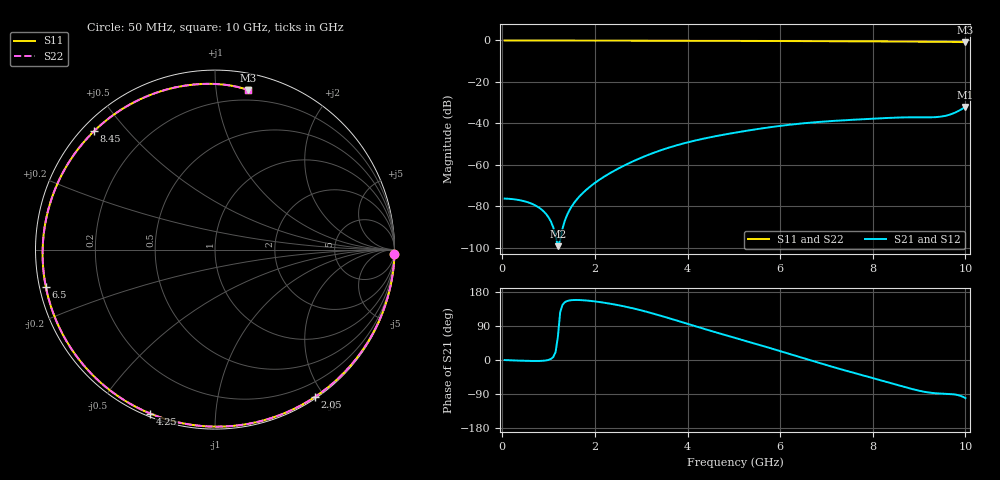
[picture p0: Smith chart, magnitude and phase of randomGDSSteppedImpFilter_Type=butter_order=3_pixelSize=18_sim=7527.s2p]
! freq	dB(S11)	phase(S11)	dB(S12)	phase(S12)
!  dB(S21)	phase(S21)	dB(S22)	phase(S22)
!S-par simulation data
#  GHz  S  DB  R 50
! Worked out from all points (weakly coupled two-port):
!   200 points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, 50 MHz to 10 GHz, reference 50 ohm
!   highest |S21| = -32.10 dB at 10 GHz (marker M1); lowest = -99.4 dB at 1.2 GHz (marker M2)
!   lowest |S11| = -0.8 dB at 10 GHz (marker M3), VSWR 20.62, Z = 6.06 + j61 ohm
!   |S11| at or under -10 dB: nowhere
!   |S22| runs from -0.8 to 0.0 dB; largest |S21 - S12| = 0
!   S11 on the Smith chart (normalised r, x): 50 MHz: 0, -82; 2.05 GHz: 0.02, -1.88; 4.25 GHz: 0.01, -0.68; 6.5 GHz: 0.02, -0.11; 8.45 GHz: 0.03, +0.41; 10 GHz: 0.12, +1.22
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0.05  -0.00 -1.4  -76.38 -0.1  -76.38 -0.1  -0.00 -1.4
0.45  -0.01 -12.6  -77.50 -2.0  -77.50 -2.0  -0.01 -12.6
0.75  -0.02 -20.9  -80.14 -2.7  -80.14 -2.7  -0.02 -20.9
1.2  -0.04 -33.2  -99.36 60.7  -99.36 60.7  -0.04 -33.2
1.5  -0.05 -41.3  -80.12 158.0  -80.12 158.0  -0.05 -41.3
1.75  -0.06 -48.0  -73.42 157.7  -73.42 157.7  -0.06 -48.0
2.05  -0.07 -55.9  -68.00 153.8  -68.00 153.8  -0.07 -55.9
2.65  -0.09 -71.6  -60.21 141.0  -60.21 141.0  -0.09 -71.6
3.4  -0.12 -90.6  -53.22 117.6  -53.22 117.6  -0.12 -90.6
4.25  -0.16 -111.6  -47.90 86.1  -47.90 86.1  -0.16 -111.6
5.05  -0.20 -131.2  -44.44 57.5  -44.44 57.5  -0.20 -131.2
5.8  -0.25 -149.7  -41.85 30.8  -41.85 30.8  -0.25 -149.7
6.5  -0.31 -167.6  -40.01 5.0  -40.01 5.0  -0.31 -167.6
6.7  -0.33 -172.9  -39.61 -2.4  -39.61 -2.4  -0.33 -172.9
7.55  -0.41 163.4  -38.33 -32.6  -38.33 -32.6  -0.41 163.4
7.95  -0.45 151.5  -37.85 -46.0  -37.85 -46.0  -0.45 151.5
8.35  -0.50 138.8  -37.40 -59.6  -37.40 -59.6  -0.50 138.8
8.45  -0.51 135.6  -37.31 -63.0  -37.31 -63.0  -0.51 135.6
9  -0.58 116.7  -37.12 -81.0  -37.12 -81.0  -0.58 116.7
9.5  -0.65 98.2  -36.69 -88.7  -36.69 -88.7  -0.65 98.2
9.75  -0.71 88.4  -35.10 -90.6  -35.10 -90.6  -0.71 88.4
10  -0.84 78.3  -32.10 -100.6  -32.10 -100.6  -0.84 78.3
